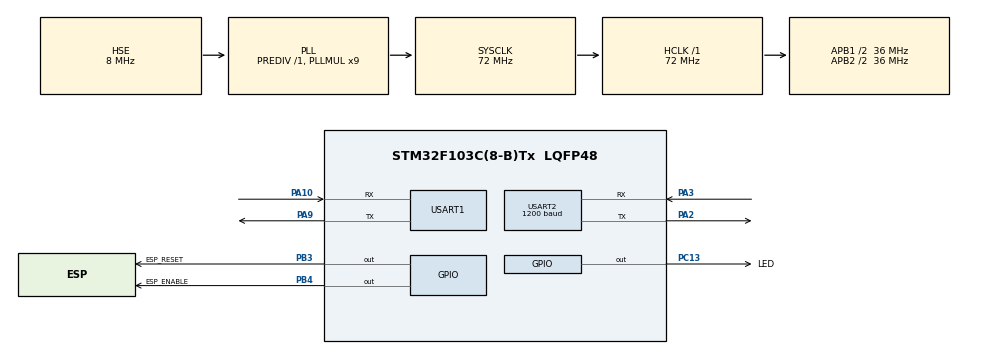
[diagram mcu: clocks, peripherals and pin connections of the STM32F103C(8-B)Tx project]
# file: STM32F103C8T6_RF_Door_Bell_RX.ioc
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Mcu.Family=STM32F1
Mcu.Name=STM32F103C(8-B)Tx
Mcu.Package=LQFP48
NVIC.PriorityGroup=NVIC_PRIORITYGROUP_4
NVIC.RCC_IRQn=true\:0\:0\:false\:false\:true\:true\:false
NVIC.TIM2_IRQn=true\:0\:0\:false\:false\:true\:true\:true
NVIC.TIM3_IRQn=true\:0\:0\:false\:false\:true\:true\:true
NVIC.USART1_IRQn=true\:0\:0\:false\:false\:true\:true\:true
NVIC.USART2_IRQn=true\:0\:0\:false\:false\:true\:true\:true
PA10.Mode=Asynchronous
PA10.Signal=USART1_RX
PA13.Mode=Serial_Wire
PA13.Signal=SYS_JTMS-SWDIO
PA14.Mode=Serial_Wire
PA14.Signal=SYS_JTCK-SWCLK
PA2.Mode=Asynchronous
PA2.Signal=USART2_TX
PA3.Mode=Asynchronous
PA3.Signal=USART2_RX
PA9.Mode=Asynchronous
PA9.Signal=USART1_TX
PB3.GPIO_Label=ESP_RESET
PB3.GPIO_Speed=GPIO_SPEED_FREQ_HIGH
PB3.Signal=GPIO_Output
PB4.GPIO_Label=ESP_ENABLE
PB4.GPIO_Speed=GPIO_SPEED_FREQ_HIGH
PB4.Signal=GPIO_Output
PC13-TAMPER-RTC.GPIO_Label=LED
PC13-TAMPER-RTC.GPIO_Speed=GPIO_SPEED_FREQ_HIGH
PC13-TAMPER-RTC.PinState=GPIO_PIN_SET
PC13-TAMPER-RTC.Signal=GPIO_Output
PD0-OSC_IN.Mode=HSE-External-Oscillator
PD0-OSC_IN.Signal=RCC_OSC_IN
PD1-OSC_OUT.Mode=HSE-External-Oscillator
PD1-OSC_OUT.Signal=RCC_OSC_OUT
ProjectManager.HeapSize=0x200
ProjectManager.StackSize=0x400
ProjectManager.TargetToolchain=STM32CubeIDE
RCC.AHBFreq_Value=72000000
RCC.APB1CLKDivider=RCC_HCLK_DIV2
RCC.APB1Freq_Value=36000000
RCC.APB1TimFreq_Value=72000000
RCC.APB2CLKDivider=RCC_HCLK_DIV2
RCC.APB2Freq_Value=36000000
RCC.APB2TimFreq_Value=72000000
RCC.HCLKFreq_Value=72000000
RCC.PLLMUL=RCC_PLL_MUL9
RCC.PLLSourceVirtual=RCC_PLLSOURCE_HSE
RCC.SYSCLKFreq_VALUE=72000000
RCC.SYSCLKSource=RCC_SYSCLKSOURCE_PLLCLK
RCC.USBFreq_Value=72000000
TIM2.Period=199
TIM2.Prescaler=7200
TIM3.Period=9999
TIM3.Prescaler=7200
USART1.VirtualMode=VM_ASYNC
USART2.BaudRate=1200
USART2.VirtualMode=VM_ASYNC
VP_TIM2_VS_ClockSourceINT.Mode=Internal
VP_TIM3_VS_ClockSourceINT.Mode=Internal
board=custom

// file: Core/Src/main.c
/* USER CODE BEGIN Header */
/**
  ******************************************************************************
  * @file           : main.c
  * @brief          : Main program body
  ******************************************************************************
  * @attention
  *
  * Copyright (c) 2022 STMicroelectronics.
  * All rights reserved.
  *
  * This software is licensed under terms that can be found in the LICENSE file
  * in the root directory of this software component.
  * If no LICENSE file comes with this software, it is provided AS-IS.
  *
  ******************************************************************************
  */
/* USER CODE END Header */
#include "main.h"

/* USER CODE BEGIN Includes */
#include "myLibrary.h"
/* USER CODE END Includes */

TIM_HandleTypeDef htim2;
TIM_HandleTypeDef htim3;

UART_HandleTypeDef huart1;
UART_HandleTypeDef huart2;

void SystemClock_Config(void);
static void MX_GPIO_Init(void);
static void MX_USART2_UART_Init(void);
static void MX_TIM2_Init(void);
static void MX_USART1_UART_Init(void);
static void MX_TIM3_Init(void);

int main(void)
{

  /* MCU Configuration--------------------------------------------------------*/

  /* Reset of all peripherals, Initializes the Flash interface and the Systick. */
  HAL_Init();

  /* Configure the system clock */
  SystemClock_Config();

  /* Initialize all configured peripherals */
  MX_GPIO_Init();
  MX_USART2_UART_Init();
  MX_TIM2_Init();
  MX_USART1_UART_Init();
  MX_TIM3_Init();
  /* USER CODE BEGIN 2 */
  HAL_TIM_Base_Start_IT(&htim2);//20ms
  HAL_TIM_Base_Start_IT(&htim3);//1s
  __HAL_UART_ENABLE_IT(&huart2, UART_IT_RXNE);
  ESP_Init();
  /* USER CODE END 2 */

  /* Infinite loop */
  while (1)
  {

    /* USER CODE BEGIN 3 */
		if(messageHandlerFlag_RF)
		{
		  messageHandlerFlag_RF = 0;
		  timeout_RF = 0;
		  messageHandler_RF();
		}

		if(messageHandlerFlag_ESP)
		{
		  messageHandlerFlag_ESP = 0;
		  timeout_ESP = 0;
		  messageHandler_ESP();
		}

		if(seconds > 604800)//one week
			NVIC_SystemReset();
  }
  /* USER CODE END 3 */
}

void SystemClock_Config(void)
{
  RCC_OscInitTypeDef RCC_OscInitStruct = {0};
  RCC_ClkInitTypeDef RCC_ClkInitStruct = {0};

  /** Initializes the RCC Oscillators according to the specified parameters
  * in the RCC_OscInitTypeDef structure.
  */
  RCC_OscInitStruct.OscillatorType = RCC_OSCILLATORTYPE_HSE;
  RCC_OscInitStruct.HSEState = RCC_HSE_ON;
  RCC_OscInitStruct.HSEPredivValue = RCC_HSE_PREDIV_DIV1;
  RCC_OscInitStruct.HSIState = RCC_HSI_ON;
  RCC_OscInitStruct.PLL.PLLState = RCC_PLL_ON;
  RCC_OscInitStruct.PLL.PLLSource = RCC_PLLSOURCE_HSE;
  RCC_OscInitStruct.PLL.PLLMUL = RCC_PLL_MUL9;
  if (HAL_RCC_OscConfig(&RCC_OscInitStruct) != HAL_OK)
  {
    Error_Handler();
  }
  /** Initializes the CPU, AHB and APB buses clocks
  */
  RCC_ClkInitStruct.ClockType = RCC_CLOCKTYPE_HCLK|RCC_CLOCKTYPE_SYSCLK
                              |RCC_CLOCKTYPE_PCLK1|RCC_CLOCKTYPE_PCLK2;
  RCC_ClkInitStruct.SYSCLKSource = RCC_SYSCLKSOURCE_PLLCLK;
  RCC_ClkInitStruct.AHBCLKDivider = RCC_SYSCLK_DIV1;
  RCC_ClkInitStruct.APB1CLKDivider = RCC_HCLK_DIV2;
  RCC_ClkInitStruct.APB2CLKDivider = RCC_HCLK_DIV2;

  if (HAL_RCC_ClockConfig(&RCC_ClkInitStruct, FLASH_LATENCY_2) != HAL_OK)
  {
    Error_Handler();
  }
}

static void MX_TIM2_Init(void)
{

  TIM_ClockConfigTypeDef sClockSourceConfig = {0};
  TIM_MasterConfigTypeDef sMasterConfig = {0};

  htim2.Instance = TIM2;
  htim2.Init.Prescaler = 7200;
  htim2.Init.CounterMode = TIM_COUNTERMODE_UP;
  htim2.Init.Period = 199;
  htim2.Init.ClockDivision = TIM_CLOCKDIVISION_DIV1;
  htim2.Init.AutoReloadPreload = TIM_AUTORELOAD_PRELOAD_DISABLE;
  if (HAL_TIM_Base_Init(&htim2) != HAL_OK)
  {
    Error_Handler();
  }
  sClockSourceConfig.ClockSource = TIM_CLOCKSOURCE_INTERNAL;
  if (HAL_TIM_ConfigClockSource(&htim2, &sClockSourceConfig) != HAL_OK)
  {
    Error_Handler();
  }
  sMasterConfig.MasterOutputTrigger = TIM_TRGO_RESET;
  sMasterConfig.MasterSlaveMode = TIM_MASTERSLAVEMODE_DISABLE;
  if (HAL_TIMEx_MasterConfigSynchronization(&htim2, &sMasterConfig) != HAL_OK)
  {
    Error_Handler();
  }

}

static void MX_TIM3_Init(void)
{

  TIM_ClockConfigTypeDef sClockSourceConfig = {0};
  TIM_MasterConfigTypeDef sMasterConfig = {0};

  htim3.Instance = TIM3;
  htim3.Init.Prescaler = 7200;
  htim3.Init.CounterMode = TIM_COUNTERMODE_UP;
  htim3.Init.Period = 9999;
  htim3.Init.ClockDivision = TIM_CLOCKDIVISION_DIV1;
  htim3.Init.AutoReloadPreload = TIM_AUTORELOAD_PRELOAD_DISABLE;
  if (HAL_TIM_Base_Init(&htim3) != HAL_OK)
  {
    Error_Handler();
  }
  sClockSourceConfig.ClockSource = TIM_CLOCKSOURCE_INTERNAL;
  if (HAL_TIM_ConfigClockSource(&htim3, &sClockSourceConfig) != HAL_OK)
  {
    Error_Handler();
  }
  sMasterConfig.MasterOutputTrigger = TIM_TRGO_RESET;
  sMasterConfig.MasterSlaveMode = TIM_MASTERSLAVEMODE_DISABLE;
  if (HAL_TIMEx_MasterConfigSynchronization(&htim3, &sMasterConfig) != HAL_OK)
  {
    Error_Handler();
  }

}

static void MX_USART1_UART_Init(void)
{

  huart1.Instance = USART1;
  huart1.Init.BaudRate = 115200;
  huart1.Init.WordLength = UART_WORDLENGTH_8B;
  huart1.Init.StopBits = UART_STOPBITS_1;
  huart1.Init.Parity = UART_PARITY_NONE;
  huart1.Init.Mode = UART_MODE_TX_RX;
  huart1.Init.HwFlowCtl = UART_HWCONTROL_NONE;
  huart1.Init.OverSampling = UART_OVERSAMPLING_16;
  if (HAL_UART_Init(&huart1) != HAL_OK)
  {
    Error_Handler();
  }

}

static void MX_USART2_UART_Init(void)
{

  huart2.Instance = USART2;
  huart2.Init.BaudRate = 1200;
  huart2.Init.WordLength = UART_WORDLENGTH_8B;
  huart2.Init.StopBits = UART_STOPBITS_1;
  huart2.Init.Parity = UART_PARITY_NONE;
  huart2.Init.Mode = UART_MODE_TX_RX;
  huart2.Init.HwFlowCtl = UART_HWCONTROL_NONE;
  huart2.Init.OverSampling = UART_OVERSAMPLING_16;
  if (HAL_UART_Init(&huart2) != HAL_OK)
  {
    Error_Handler();
  }

}

static void MX_GPIO_Init(void)
{
  GPIO_InitTypeDef GPIO_InitStruct = {0};

  /* GPIO Ports Clock Enable */
  __HAL_RCC_GPIOC_CLK_ENABLE();
  __HAL_RCC_GPIOD_CLK_ENABLE();
  __HAL_RCC_GPIOA_CLK_ENABLE();
  __HAL_RCC_GPIOB_CLK_ENABLE();

  /*Configure GPIO pin Output Level */
  HAL_GPIO_WritePin(LED_GPIO_Port, LED_Pin, GPIO_PIN_SET);

  /*Configure GPIO pin Output Level */
  HAL_GPIO_WritePin(GPIOB, ESP_RESET_Pin|ESP_ENABLE_Pin, GPIO_PIN_RESET);

  /*Configure GPIO pin : LED_Pin */
  GPIO_InitStruct.Pin = LED_Pin;
  GPIO_InitStruct.Mode = GPIO_MODE_OUTPUT_PP;
  GPIO_InitStruct.Pull = GPIO_NOPULL;
  GPIO_InitStruct.Speed = GPIO_SPEED_FREQ_HIGH;
  HAL_GPIO_Init(LED_GPIO_Port, &GPIO_InitStruct);

  /*Configure GPIO pins : ESP_RESET_Pin ESP_ENABLE_Pin */
  GPIO_InitStruct.Pin = ESP_RESET_Pin|ESP_ENABLE_Pin;
  GPIO_InitStruct.Mode = GPIO_MODE_OUTPUT_PP;
  GPIO_InitStruct.Pull = GPIO_NOPULL;
  GPIO_InitStruct.Speed = GPIO_SPEED_FREQ_HIGH;
  HAL_GPIO_Init(GPIOB, &GPIO_InitStruct);

}

void Error_Handler(void)
{
  __disable_irq();
  while (1)
  {
  }
}
